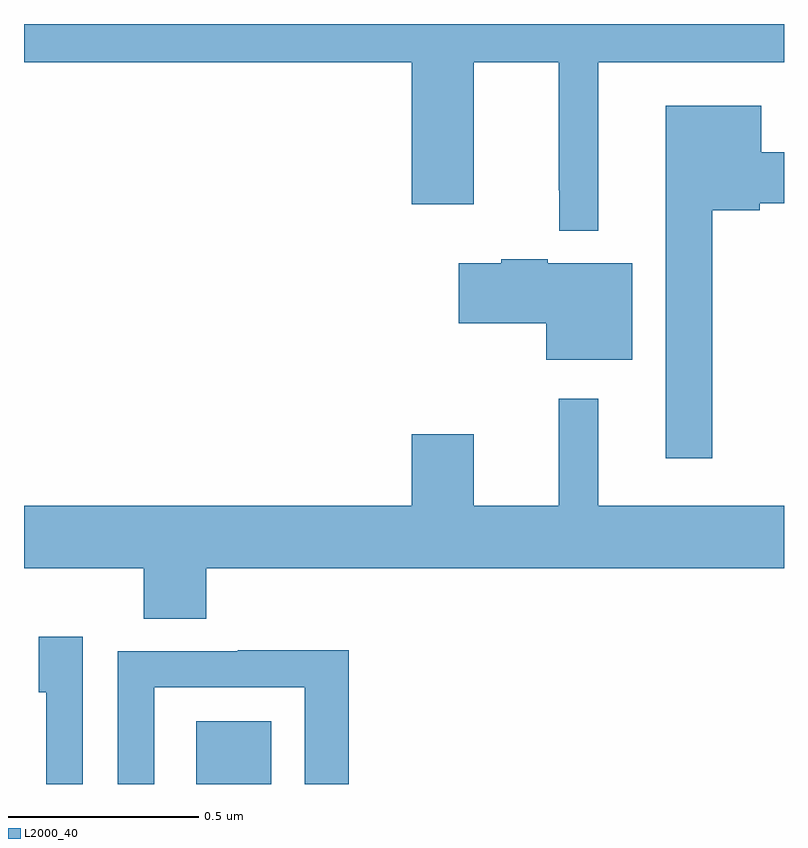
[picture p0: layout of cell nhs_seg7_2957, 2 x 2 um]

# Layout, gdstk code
import gdstk
lib = gdstk.Library(unit=1e-6, precision=1e-09)
def R(c, l, rs):  # rectangles x0, y0, x1, y1
    for r in rs: c.add(gdstk.rectangle(r[:2], r[2:], *l))
def P(c, l, *ps):  # polygons
    for p in ps: c.add(gdstk.Polygon(p, *l))
L2000_40 = (2000, 40)

nhs_seg7_2957 = lib.new_cell('nhs_seg7_2957')
R(nhs_seg7_2957, L2000_40, [(152.453,1048,152.65,1048.165)])
P(nhs_seg7_2957, L2000_40, [(153.511,1049.9),(154,1049.9),(154,1050),(152,1050),(152,1049.9),(153.02,1049.9),(153.02,1049.526),(153.184,1049.526),(153.184,1049.9),(153.407,1049.9),(153.407,1049.563),(153.408,1049.563),(153.408,1049.456),(153.511,1049.456)],
  [(153.811,1049.51),(153.936,1049.51),(153.936,1049.528),(154,1049.528),(154,1049.662),(153.94,1049.662),(153.94,1049.785),(153.689,1049.785),(153.689,1048.857),(153.811,1048.857)],
  [(153.601,1049.371),(153.378,1049.371),(153.378,1049.381),(153.256,1049.381),(153.256,1049.371),(153.144,1049.371),(153.144,1049.213),(153.374,1049.213),(153.374,1049.117),(153.601,1049.117)],
  [(152.48,1048.568),(154,1048.568),(154,1048.732),(153.511,1048.732),(153.511,1049.014),(153.407,1049.014),(153.407,1048.732),(153.184,1048.732),(153.184,1048.921),(153.02,1048.921),(153.02,1048.732),(152,1048.732),(152,1048.568),(152.315,1048.568),(152.315,1048.435),(152.48,1048.435)],
  [(152.154,1048.387),(152.039,1048.387),(152.039,1048.242),(152.058,1048.242),(152.058,1048),(152.154,1048)],
  [(152.343,1048.254),(152.739,1048.254),(152.739,1048),(152.855,1048),(152.855,1048.352),(152.563,1048.352),(152.563,1048.35),(152.247,1048.35),(152.247,1048),(152.343,1048)])

lib.write_gds('nhs_seg7_2957.gds')
